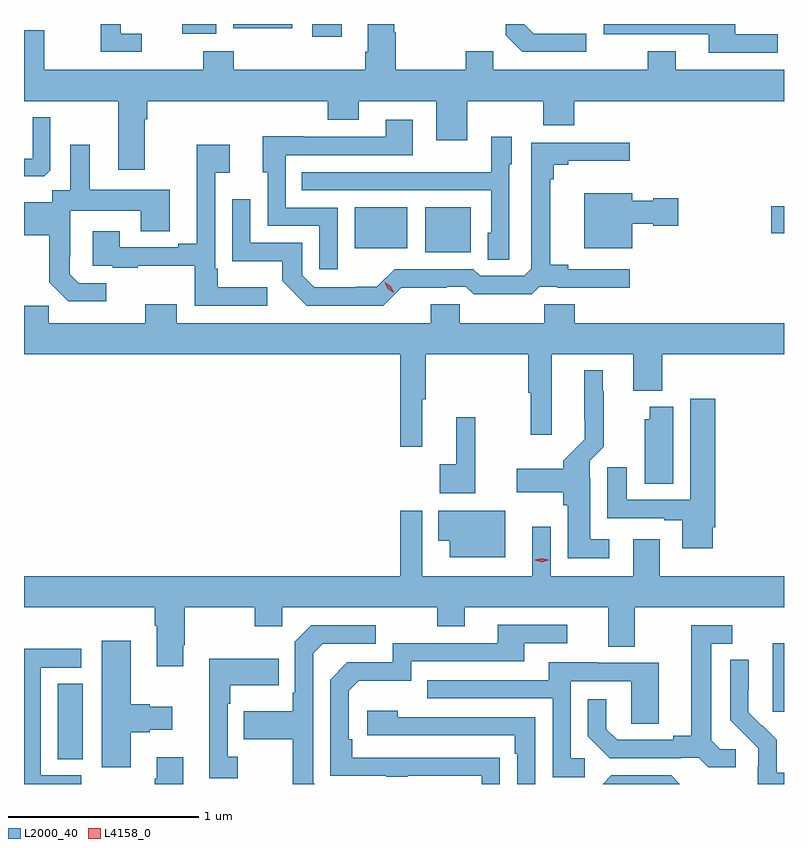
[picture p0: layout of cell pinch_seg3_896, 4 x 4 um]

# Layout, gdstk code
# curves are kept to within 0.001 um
import gdstk
lib = gdstk.Library(unit=1e-6, precision=1e-09)
def R(c, l, rs):  # rectangles x0, y0, x1, y1
    for r in rs: c.add(gdstk.rectangle(r[:2], r[2:], *l))
def P(c, l, *ps):  # polygons
    for p in ps: c.add(gdstk.Polygon(p, *l))
L2000_40 = (2000, 40)
L4158_0 = (4158, 0)

pinch_seg3_896 = lib.new_cell('pinch_seg3_896')
R(pinch_seg3_896, L2000_40, [(804.713,696.121,804.844,696.518), (808.478,696.369,808.536,696.73), (806.648,698.789,806.887,699.025), (806.276,698.81,806.554,699.025), (808.47,698.89,808.536,699.032), (806.054,699.924,806.209,699.99), (805.37,699.938,805.549,699.99), (805.638,699.967,805.948,699.99)])
P(pinch_seg3_896, L2000_40, [(806.705,699.378),(806.869,699.378),(806.869,699.584),(807.269,699.584),(807.269,699.456),(807.433,699.456),(807.433,699.584),(808.536,699.584),(808.536,699.748),(807.967,699.748),(807.967,699.847),(807.82,699.847),(807.82,699.748),(807.006,699.748),(807.006,699.847),(806.86,699.847),(806.86,699.748),(806.493,699.748),(806.493,699.947),(806.485,699.947),(806.485,699.99),(806.345,699.99),(806.345,699.844),(806.333,699.844),(806.333,699.748),(805.64,699.748),(805.64,699.847),(805.48,699.847),(805.48,699.748),(804.643,699.748),(804.643,699.956),(804.536,699.956),(804.536,699.584),(805.031,699.584),(805.031,699.222),(805.171,699.222),(805.171,699.488),(805.184,699.488),(805.184,699.584),(806.135,699.584),(806.135,699.485),(806.299,699.485),(806.299,699.584),(806.705,699.584)],
  [(807.496,699.939),(807.219,699.939),(807.168,699.99),(807.072,699.99),(807.072,699.93),(807.159,699.843),(807.496,699.843)],
  [(805.156,699.939),(805.045,699.939),(805.045,699.99),(804.941,699.99),(804.941,699.843),(805.156,699.843)],
  [(808.504,699.936),(808.279,699.936),(808.279,699.99),(807.588,699.99),(807.588,699.936),(808.139,699.936),(808.139,699.84),(808.504,699.84)],
  [(804.675,699.219),(804.675,699.499),(804.582,699.499),(804.582,699.282),(804.536,699.282),(804.536,699.188),(804.643,699.188)],
  [(806.187,699.024),(805.914,699.024),(805.914,699.3),(806.581,699.3),(806.581,699.487),(806.441,699.487),(806.441,699.396),(806.011,699.396),(806.011,699.398),(805.793,699.398),(805.793,699.21),(805.818,699.21),(805.818,698.928),(806.091,698.928),(806.091,698.7),(806.187,698.7)],
  [(807.09,699.252),(807.103,699.252),(807.103,699.397),(806.994,699.397),(806.994,699.211),(806.677,699.211),(806.677,699.21),(805.999,699.21),(805.999,699.114),(806.994,699.114),(806.994,698.892),(806.978,698.892),(806.978,698.749),(807.09,698.749)],
  [(806.522,698.603),(806.762,698.603),(806.762,698.607),(806.862,698.607),(806.902,698.568),(807.209,698.568),(807.249,698.607),(807.343,698.607),(807.343,698.603),(807.724,698.603),(807.724,698.7),(807.4,698.7),(807.4,698.723),(807.305,698.723),(807.305,699.173),(807.323,699.173),(807.323,699.25),(807.4,699.25),(807.4,699.269),(807.724,699.269),(807.724,699.366),(807.207,699.366),(807.207,698.703),(807.168,698.664),(806.937,698.664),(806.901,698.7),(806.487,698.7),(806.393,698.606),(806.288,698.606),(806.288,698.604),(806.064,698.604),(806.001,698.667),(806.001,698.838),(805.728,698.838),(805.728,699.067),(805.632,699.067),(805.632,698.741),(805.894,698.741),(805.894,698.639),(806.024,698.508),(806.427,698.508)],
  [(805.816,698.605),(805.555,698.605),(805.555,698.701),(805.542,698.701),(805.542,699.206),(805.618,699.206),(805.618,699.355),(805.445,699.355),(805.445,698.833),(805.349,698.833),(805.349,698.814),(805.039,698.814),(805.039,698.899),(804.899,698.899),(804.899,698.718),(805.003,698.718),(805.003,698.706),(805.135,698.706),(805.135,698.717),(805.434,698.717),(805.434,698.508),(805.816,698.508)],
  [(804.97,698.625),(804.825,698.625),(804.778,698.672),(804.778,698.767),(804.78,698.767),(804.78,699.008),(805.151,699.008),(805.151,698.899),(805.303,698.899),(805.303,699.118),(804.883,699.118),(804.883,699.355),(804.779,699.355),(804.779,699.116),(804.684,699.116),(804.684,699.052),(804.536,699.052),(804.536,698.877),(804.669,698.877),(804.669,698.631),(804.769,698.531),(804.97,698.531)],
  [(807.736,698.939),(807.849,698.939),(807.849,698.927),(807.979,698.927),(807.979,699.074),(807.849,699.074),(807.849,699.061),(807.736,699.061),(807.736,699.1),(807.485,699.1),(807.485,698.81),(807.736,698.81)],
  [(806.633,698.016),(806.651,698.016),(806.651,698.252),(807.191,698.252),(807.191,698.048),(807.203,698.048),(807.203,697.827),(807.313,697.827),(807.313,698.252),(807.743,698.252),(807.743,698.06),(807.896,698.06),(807.896,698.252),(808.536,698.252),(808.536,698.416),(807.434,698.416),(807.434,698.514),(807.274,698.514),(807.274,698.416),(806.829,698.416),(806.829,698.514),(806.678,698.514),(806.678,698.416),(805.339,698.416),(805.339,698.515),(805.175,698.515),(805.175,698.416),(804.665,698.416),(804.665,698.507),(804.536,698.507),(804.536,698.252),(806.515,698.252),(806.515,697.764),(806.633,697.764)],
  [(807.616,697.279),(807.517,697.279),(807.517,697.598),(807.513,697.598),(807.513,697.692),(807.587,697.766),(807.587,698.057),(807.583,698.057),(807.583,698.167),(807.485,698.167),(807.486,697.804),(807.373,697.691),(807.373,697.648),(807.129,697.648),(807.129,697.526),(807.373,697.526),(807.373,697.458),(807.398,697.458),(807.398,697.178),(807.616,697.178)],
  [(808.162,697.342),(808.175,697.342),(808.175,698.017),(808.043,698.017),(808.043,697.485),(807.709,697.485),(807.709,697.657),(807.605,697.657),(807.605,697.389),(807.905,697.389),(807.905,697.377),(808.001,697.377),(808.001,697.23),(808.162,697.23)],
  [(807.952,697.975),(807.83,697.975),(807.83,697.911),(807.803,697.911),(807.803,697.57),(807.952,697.57)],
  [(806.91,697.921),(806.81,697.921),(806.81,697.673),(806.724,697.673),(806.724,697.52),(806.91,697.52)],
  [(807.07,697.429),(806.716,697.429),(806.716,697.271),(806.777,697.271),(806.777,697.184),(807.07,697.184)],
  [(805.375,696.721),(805.383,696.721),(805.383,696.92),(805.75,696.92),(805.75,696.821),(805.896,696.821),(805.896,696.92),(806.71,696.92),(806.71,696.821),(806.857,696.821),(806.857,696.92),(807.611,696.92),(807.611,696.712),(807.751,696.712),(807.751,696.92),(808.536,696.92),(808.536,697.084),(807.883,697.084),(807.883,697.279),(807.743,697.279),(807.743,697.084),(807.309,697.084),(807.309,697.345),(807.212,697.345),(807.212,697.084),(806.631,697.084),(806.631,697.429),(806.515,697.429),(806.515,697.084),(804.536,697.084),(804.536,696.92),(805.223,696.92),(805.223,696.824),(805.235,696.824),(805.235,696.609),(805.375,696.609)],
  [(807.041,696.128),(806.264,696.129),(806.264,696.226),(806.244,696.226),(806.244,696.48),(806.297,696.533),(806.574,696.533),(806.574,696.636),(807.169,696.636),(807.169,696.732),(807.394,696.732),(807.394,696.828),(807.029,696.828),(807.029,696.732),(806.478,696.732),(806.478,696.63),(806.238,696.63),(806.148,696.54),(806.148,696.033),(806.443,696.033),(806.443,696.028),(806.555,696.028),(806.555,696.033),(806.945,696.033),(806.945,695.99),(807.041,695.99)],
  [(806.058,695.997),(806.058,696.678),(806.109,696.729),(806.386,696.729),(806.386,696.825),(806.049,696.825),(805.962,696.738),(805.962,696.469),(805.95,696.469),(805.95,696.373),(805.693,696.373),(805.693,696.226),(805.95,696.226),(805.95,695.99),(806.065,695.99)],
  [(808.282,696.174),(808.2,696.174),(808.153,696.221),(808.153,696.729),(808.264,696.729),(808.264,696.825),(808.049,696.825),(808.049,696.245),(807.953,696.245),(807.953,696.222),(807.658,696.222),(807.601,696.279),(807.601,696.436),(807.504,696.436),(807.504,696.242),(807.62,696.126),(807.992,696.126),(807.992,696.129),(808.086,696.129),(808.138,696.077),(808.282,696.077)],
  [(805.099,696.263),(805.199,696.263),(805.199,696.275),(805.315,696.275),(805.315,696.397),(805.199,696.397),(805.199,696.41),(805.099,696.41),(805.099,696.745),(804.944,696.745),(804.944,696.078),(805.099,696.078)],
  [(804.838,696.036),(804.624,696.036),(804.624,696.603),(804.838,696.603),(804.838,696.702),(804.536,696.702),(804.536,695.99),(804.838,695.99)],
  [(805.66,696.134),(805.608,696.134),(805.608,696.413),(805.621,696.413),(805.621,696.509),(805.877,696.509),(805.877,696.649),(805.511,696.649),(805.511,696.021),(805.66,696.021)],
  [(808.536,696.049),(808.499,696.049),(808.499,696.223),(808.422,696.3),(808.419,696.297),(808.349,696.368),(808.35,696.644),(808.254,696.644),(808.254,696.326),(808.4,696.178),(808.4,696.081),(808.398,696.081),(808.398,695.99),(808.536,695.99)],
  [(807.487,696.126),(807.414,696.126),(807.414,696.531),(807.732,696.531),(807.732,696.307),(807.877,696.307),(807.877,696.627),(807.553,696.627),(807.553,696.631),(807.299,696.631),(807.299,696.537),(806.659,696.537),(806.659,696.441),(807.318,696.441),(807.318,696.025),(807.487,696.025)],
  [(807.228,696.342),(806.504,696.342),(806.504,696.376),(806.343,696.376),(806.343,696.246),(807.119,696.246),(807.119,696.149),(807.132,696.149),(807.132,695.99),(807.228,695.99)],
  [(805.375,696.13),(805.235,696.13),(805.235,696.017),(805.223,696.017),(805.223,695.99),(805.375,695.99)],
  [(807.942,696.036),(807.627,696.036),(807.581,695.99),(807.988,695.99)])
P(pinch_seg3_896, L4158_0, [(807.261,697.158),(807.226,697.168),(807.226,697.168),(807.226,697.169),(807.261,697.178),(807.296,697.169),(807.297,697.168),(807.296,697.168)],
  [(806.482,698.576),(806.451,698.597),(806.434,698.631),(806.434,698.631),(806.435,698.631),(806.466,698.61),(806.482,698.577),(806.482,698.576)])

lib.write_gds('pinch_seg3_896.gds')
